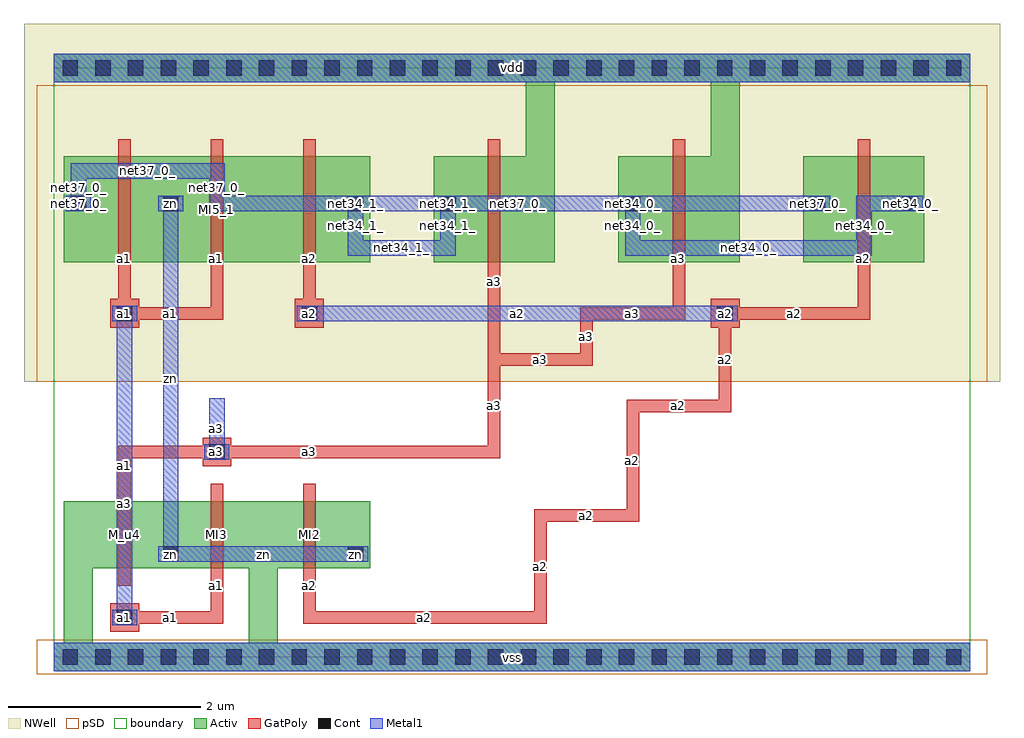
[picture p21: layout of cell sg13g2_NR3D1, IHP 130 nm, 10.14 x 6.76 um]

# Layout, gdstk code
import gdstk
lib = gdstk.Library(unit=1e-6, precision=1e-09)
def R(c, l, rs):  # rectangles x0, y0, x1, y1
    for r in rs: c.add(gdstk.rectangle(r[:2], r[2:], *l))
def A(c, l, x, y, w, h, nx, ny, dx, dy):  # array of equal rectangles
    R(c, l, [(x+i*dx, y+j*dy, x+i*dx+w, y+j*dy+h) for i in range(nx) for j in range(ny)])
Activ = (1, 0)
GatPoly = (5, 0)
Cont = (6, 0)
Metal1 = (8, 0)
pSD = (14, 0)
NWell = (31, 0)
TEXT = (63, 0)
boundary = (189, 4)

sg13g2_nr3d1 = lib.new_cell('sg13g2_NR3D1')
A(sg13g2_nr3d1, Activ, 0.105, 0.92, 1.26, 0.7, 3, 1, 0.96, 0)
A(sg13g2_nr3d1, Activ, 0.105, 4.1, 1.26, 1.1, 3, 1, 0.96, 0)
A(sg13g2_nr3d1, Activ, 3.945, 4.1, 1.26, 1.1, 3, 1, 1.92, 0)
A(sg13g2_nr3d1, Activ, 3.945, 4.56, 0.3, 0.3, 3, 1, 1.92, 0)
R(sg13g2_nr3d1, Activ, [(0,-0.15,9.52,0.15), (0.105,0.15,0.405,1.07), (2.025,0.15,2.325,1.07), (1.065,0.92,1.365,1.22), (2.985,0.92,3.285,1.22), (0.105,4.56,0.405,4.86), (1.065,4.56,1.365,4.86), (2.985,4.56,3.285,4.86), (8.745,4.56,9.045,4.86), (4.905,4.71,5.205,5.97), (6.825,4.71,7.125,5.97), (0,5.97,9.52,6.27)])
A(sg13g2_nr3d1, GatPoly, 0.67, 0.74, 0.13, 1.06, 3, 1, 0.96, 0)
A(sg13g2_nr3d1, GatPoly, 0.67, 3.505, 0.13, 1.27, 3, 1, 0.96, 0)
A(sg13g2_nr3d1, GatPoly, 0.67, 3.92, 0.13, 1.46, 3, 1, 0.96, 0)
A(sg13g2_nr3d1, GatPoly, 4.51, 3.92, 0.13, 1.46, 3, 1, 1.92, 0)
R(sg13g2_nr3d1, GatPoly, [(0.585,0.26,0.885,0.56), (0.67,0.345,1.76,0.475), (1.63,0.345,1.76,1.135), (2.59,0.345,2.72,1.135), (2.59,0.345,5.12,0.475), (4.99,0.345,5.12,1.535), (0.67,1.005,0.8,2.195), (4.99,1.405,6.08,1.535), (5.95,1.405,6.08,2.675), (1.545,1.98,1.845,2.28), (0.67,2.065,4.64,2.195), (4.51,2.065,4.64,3.155), (5.95,2.545,7.04,2.675), (6.91,2.545,7.04,3.635), (4.51,3.025,5.6,3.155), (4.51,3.025,4.64,4.775), (5.47,3.025,5.6,3.635), (0.585,3.42,0.885,3.72), (2.505,3.42,2.805,3.72), (6.825,3.42,7.125,3.72), (0.67,3.505,1.76,3.635), (5.47,3.505,6.56,3.635), (6.43,3.505,6.56,4.775), (6.91,3.505,8.48,3.635), (8.35,3.505,8.48,4.775)])
A(sg13g2_nr3d1, Cont, 0.09, -0.08, 0.16, 0.16, 28, 2, 0.34, 6.12)
A(sg13g2_nr3d1, Cont, 4.015, 4.63, 0.16, 0.16, 3, 1, 1.92, 0)
R(sg13g2_nr3d1, Cont, [(0.655,0.33,0.815,0.49), (1.135,0.99,1.295,1.15), (3.055,0.99,3.215,1.15), (1.615,2.05,1.775,2.21), (0.655,3.49,0.815,3.65), (2.575,3.49,2.735,3.65), (6.895,3.49,7.055,3.65), (0.175,4.63,0.335,4.79), (1.135,4.63,1.295,4.79), (3.055,4.63,3.215,4.79), (8.815,4.63,8.975,4.79)])
A(sg13g2_nr3d1, Metal1, 3.965, 4.63, 0.26, 0.16, 3, 1, 1.92, 0)
R(sg13g2_nr3d1, Metal1, [(0,-0.15,9.52,0.15), (0.605,0.33,0.865,0.49), (0.655,0.33,0.815,3.65), (1.085,0.99,1.345,1.15), (1.135,0.99,3.215,1.15), (1.135,0.99,1.295,4.79), (3.005,0.99,3.265,1.15), (1.565,2.05,1.825,2.21), (1.615,2.05,1.775,2.69), (0.605,3.49,0.865,3.65), (2.525,3.49,2.785,3.65), (2.575,3.49,7.055,3.65), (6.845,3.49,7.105,3.65), (3.055,4.17,3.215,4.79), (3.055,4.17,4.175,4.33), (4.015,4.17,4.175,4.79), (5.935,4.17,6.095,4.79), (5.935,4.17,8.495,4.33), (8.335,4.17,8.495,4.79), (0.125,4.63,0.385,4.79), (0.175,4.63,0.335,5.13), (1.085,4.63,1.345,4.79), (1.615,4.63,8.015,4.79), (1.615,4.63,1.775,5.13), (3.005,4.63,3.265,4.79), (8.335,4.63,8.975,4.79), (8.765,4.63,9.025,4.79), (0.175,4.97,1.775,5.13), (0,5.97,9.52,6.27)])
R(sg13g2_nr3d1, pSD, [(-0.18,-0.18,9.7,0.18), (-0.18,2.86,9.7,5.94)])
R(sg13g2_nr3d1, NWell, [(-0.31,2.86,9.83,6.58)])
R(sg13g2_nr3d1, boundary, [(0,0,9.52,6.12)])
sg13g2_nr3d1.add(gdstk.FlexPath([(0.105,0.41),(9.045,0.41)], 0, ends="flush", simple_path=True, layer=63, datatype=0))  # TEXT
sg13g2_nr3d1.add(gdstk.FlexPath([(0.105,1.07),(9.045,1.07)], 0, ends="flush", simple_path=True, layer=63, datatype=0))  # TEXT
sg13g2_nr3d1.add(gdstk.FlexPath([(0.105,1.47),(9.045,1.47)], 0, ends="flush", simple_path=True, layer=63, datatype=0))  # TEXT
sg13g2_nr3d1.add(gdstk.FlexPath([(0.105,2.13),(9.045,2.13)], 0, ends="flush", simple_path=True, layer=63, datatype=0))  # TEXT
sg13g2_nr3d1.add(gdstk.FlexPath([(0.105,2.61),(9.045,2.61)], 0, ends="flush", simple_path=True, layer=63, datatype=0))  # TEXT
sg13g2_nr3d1.add(gdstk.FlexPath([(0.105,3.09),(9.045,3.09)], 0, ends="flush", simple_path=True, layer=63, datatype=0))  # TEXT
sg13g2_nr3d1.add(gdstk.FlexPath([(0.105,3.57),(9.045,3.57)], 0, ends="flush", simple_path=True, layer=63, datatype=0))  # TEXT
sg13g2_nr3d1.add(gdstk.FlexPath([(0.105,4.25),(9.045,4.25)], 0, ends="flush", simple_path=True, layer=63, datatype=0))  # TEXT
sg13g2_nr3d1.add(gdstk.FlexPath([(0.105,4.71),(9.045,4.71)], 0, ends="flush", simple_path=True, layer=63, datatype=0))  # TEXT
sg13g2_nr3d1.add(gdstk.FlexPath([(0.105,5.05),(9.045,5.05)], 0, ends="flush", simple_path=True, layer=63, datatype=0))  # TEXT
sg13g2_nr3d1.add(gdstk.FlexPath([(0.105,5.71),(9.045,5.71)], 0, ends="flush", simple_path=True, layer=63, datatype=0))  # TEXT
sg13g2_nr3d1.add(gdstk.FlexPath([(0.255,0.15),(0.255,5.97)], 0, ends="flush", simple_path=True, layer=63, datatype=0))  # TEXT
sg13g2_nr3d1.add(gdstk.FlexPath([(0.735,0.15),(0.735,5.97)], 0, ends="flush", simple_path=True, layer=63, datatype=0))  # TEXT
sg13g2_nr3d1.add(gdstk.FlexPath([(1.215,0.15),(1.215,5.97)], 0, ends="flush", simple_path=True, layer=63, datatype=0))  # TEXT
sg13g2_nr3d1.add(gdstk.FlexPath([(1.695,0.15),(1.695,5.97)], 0, ends="flush", simple_path=True, layer=63, datatype=0))  # TEXT
sg13g2_nr3d1.add(gdstk.FlexPath([(2.175,0.15),(2.175,5.97)], 0, ends="flush", simple_path=True, layer=63, datatype=0))  # TEXT
sg13g2_nr3d1.add(gdstk.FlexPath([(2.655,0.15),(2.655,5.97)], 0, ends="flush", simple_path=True, layer=63, datatype=0))  # TEXT
sg13g2_nr3d1.add(gdstk.FlexPath([(3.135,0.15),(3.135,5.97)], 0, ends="flush", simple_path=True, layer=63, datatype=0))  # TEXT
sg13g2_nr3d1.add(gdstk.FlexPath([(3.615,0.15),(3.615,5.97)], 0, ends="flush", simple_path=True, layer=63, datatype=0))  # TEXT
sg13g2_nr3d1.add(gdstk.FlexPath([(4.095,0.15),(4.095,5.97)], 0, ends="flush", simple_path=True, layer=63, datatype=0))  # TEXT
sg13g2_nr3d1.add(gdstk.FlexPath([(4.575,0.15),(4.575,5.97)], 0, ends="flush", simple_path=True, layer=63, datatype=0))  # TEXT
sg13g2_nr3d1.add(gdstk.FlexPath([(5.055,0.15),(5.055,5.97)], 0, ends="flush", simple_path=True, layer=63, datatype=0))  # TEXT
sg13g2_nr3d1.add(gdstk.FlexPath([(5.535,0.15),(5.535,5.97)], 0, ends="flush", simple_path=True, layer=63, datatype=0))  # TEXT
sg13g2_nr3d1.add(gdstk.FlexPath([(6.015,0.15),(6.015,5.97)], 0, ends="flush", simple_path=True, layer=63, datatype=0))  # TEXT
sg13g2_nr3d1.add(gdstk.FlexPath([(6.495,0.15),(6.495,5.97)], 0, ends="flush", simple_path=True, layer=63, datatype=0))  # TEXT
sg13g2_nr3d1.add(gdstk.FlexPath([(6.975,0.15),(6.975,5.97)], 0, ends="flush", simple_path=True, layer=63, datatype=0))  # TEXT
sg13g2_nr3d1.add(gdstk.FlexPath([(7.455,0.15),(7.455,5.97)], 0, ends="flush", simple_path=True, layer=63, datatype=0))  # TEXT
sg13g2_nr3d1.add(gdstk.FlexPath([(7.935,0.15),(7.935,5.97)], 0, ends="flush", simple_path=True, layer=63, datatype=0))  # TEXT
sg13g2_nr3d1.add(gdstk.FlexPath([(8.415,0.15),(8.415,5.97)], 0, ends="flush", simple_path=True, layer=63, datatype=0))  # TEXT
sg13g2_nr3d1.add(gdstk.FlexPath([(8.895,0.15),(8.895,5.97)], 0, ends="flush", simple_path=True, layer=63, datatype=0))  # TEXT
sg13g2_nr3d1.add(gdstk.Label('zn', (1.215,1.07), layer=6, texttype=0))
sg13g2_nr3d1.add(gdstk.Label('zn', (3.135,1.07), layer=6, texttype=0))
sg13g2_nr3d1.add(gdstk.Label('zn', (1.215,4.71), layer=6, texttype=0))
sg13g2_nr3d1.add(gdstk.Label('a3', (1.695,2.13), layer=6, texttype=0))
sg13g2_nr3d1.add(gdstk.Label('a2', (6.975,3.57), layer=6, texttype=0))
sg13g2_nr3d1.add(gdstk.Label('a2', (2.655,3.57), layer=6, texttype=0))
sg13g2_nr3d1.add(gdstk.Label('a1', (0.735,0.41), layer=6, texttype=0))
sg13g2_nr3d1.add(gdstk.Label('a1', (0.735,3.57), layer=6, texttype=0))
sg13g2_nr3d1.add(gdstk.Label('net37_0_', (7.935,4.71), layer=6, texttype=0))
sg13g2_nr3d1.add(gdstk.Label('net37_0_', (0.255,4.71), layer=6, texttype=0))
sg13g2_nr3d1.add(gdstk.Label('net34_0_', (8.895,4.71), layer=6, texttype=0))
sg13g2_nr3d1.add(gdstk.Label('net34_0_', (6.015,4.71), layer=6, texttype=0))
sg13g2_nr3d1.add(gdstk.Label('net34_1_', (4.095,4.71), layer=6, texttype=0))
sg13g2_nr3d1.add(gdstk.Label('net34_1_', (3.135,4.71), layer=6, texttype=0))
sg13g2_nr3d1.add(gdstk.Label('net37_0_', (7.935,4.71), layer=8, texttype=0))
sg13g2_nr3d1.add(gdstk.Label('net37_0_', (0.255,4.71), layer=8, texttype=0))
sg13g2_nr3d1.add(gdstk.Label('net37_0_', (4.815,4.71), layer=8, texttype=0))
sg13g2_nr3d1.add(gdstk.Label('net37_0_', (1.695,4.88), layer=8, texttype=0))
sg13g2_nr3d1.add(gdstk.Label('net37_0_', (0.975,5.05), layer=8, texttype=0))
sg13g2_nr3d1.add(gdstk.Label('net37_0_', (0.255,4.88), layer=8, texttype=0))
sg13g2_nr3d1.add(gdstk.Label('net34_0_', (8.895,4.71), layer=8, texttype=0))
sg13g2_nr3d1.add(gdstk.Label('net34_0_', (6.015,4.71), layer=8, texttype=0))
sg13g2_nr3d1.add(gdstk.Label('net34_0_', (8.655,4.71), layer=8, texttype=0))
sg13g2_nr3d1.add(gdstk.Label('net34_0_', (8.415,4.48), layer=8, texttype=0))
sg13g2_nr3d1.add(gdstk.Label('net34_0_', (7.215,4.25), layer=8, texttype=0))
sg13g2_nr3d1.add(gdstk.Label('net34_0_', (6.015,4.48), layer=8, texttype=0))
sg13g2_nr3d1.add(gdstk.Label('net34_1_', (4.095,4.71), layer=8, texttype=0))
sg13g2_nr3d1.add(gdstk.Label('net34_1_', (3.135,4.71), layer=8, texttype=0))
sg13g2_nr3d1.add(gdstk.Label('net34_1_', (4.095,4.48), layer=8, texttype=0))
sg13g2_nr3d1.add(gdstk.Label('net34_1_', (3.615,4.25), layer=8, texttype=0))
sg13g2_nr3d1.add(gdstk.Label('net34_1_', (3.135,4.48), layer=8, texttype=0))
sg13g2_nr3d1.add(gdstk.Label('zn', (1.215,1.07), layer=8, texttype=25))
sg13g2_nr3d1.add(gdstk.Label('zn', (3.135,1.07), layer=8, texttype=25))
sg13g2_nr3d1.add(gdstk.Label('zn', (1.215,4.71), layer=8, texttype=25))
sg13g2_nr3d1.add(gdstk.Label('zn', (2.175,1.07), layer=8, texttype=25))
sg13g2_nr3d1.add(gdstk.Label('zn', (1.215,2.89), layer=8, texttype=25))
sg13g2_nr3d1.add(gdstk.Label('a3', (1.695,2.13), layer=8, texttype=25))
sg13g2_nr3d1.add(gdstk.Label('a3', (1.695,2.37), layer=8, texttype=25))
sg13g2_nr3d1.add(gdstk.Label('a2', (6.975,3.57), layer=8, texttype=25))
sg13g2_nr3d1.add(gdstk.Label('a2', (4.815,3.57), layer=8, texttype=25))
sg13g2_nr3d1.add(gdstk.Label('a2', (2.655,3.57), layer=8, texttype=25))
sg13g2_nr3d1.add(gdstk.Label('a1', (0.735,0.41), layer=8, texttype=25))
sg13g2_nr3d1.add(gdstk.Label('a1', (0.735,1.99), layer=8, texttype=25))
sg13g2_nr3d1.add(gdstk.Label('a1', (0.735,3.57), layer=8, texttype=25))
sg13g2_nr3d1.add(gdstk.Label('vss', (4.76,0), layer=8, texttype=25))
sg13g2_nr3d1.add(gdstk.Label('vdd', (4.76,6.12), layer=8, texttype=25))
sg13g2_nr3d1.add(gdstk.Label('M_u4', (0.735,1.27), layer=1, texttype=0))
sg13g2_nr3d1.add(gdstk.Label('MI2', (2.655,1.27), layer=1, texttype=0))
sg13g2_nr3d1.add(gdstk.Label('MI3', (1.695,1.27), layer=1, texttype=0))
sg13g2_nr3d1.add(gdstk.Label('MI4_0', (8.415,4.65), layer=1, texttype=0))
sg13g2_nr3d1.add(gdstk.Label('M_u1_0', (6.495,4.65), layer=1, texttype=0))
sg13g2_nr3d1.add(gdstk.Label('M_u1_1', (4.575,4.65), layer=1, texttype=0))
sg13g2_nr3d1.add(gdstk.Label('MI4_1', (2.655,4.65), layer=1, texttype=0))
sg13g2_nr3d1.add(gdstk.Label('MI5_0', (0.735,4.65), layer=1, texttype=0))
sg13g2_nr3d1.add(gdstk.Label('MI5_1', (1.695,4.65), layer=1, texttype=0))
sg13g2_nr3d1.add(gdstk.Label('zn', (1.215,1.07), layer=1, texttype=0))
sg13g2_nr3d1.add(gdstk.Label('zn', (3.135,1.07), layer=1, texttype=0))
sg13g2_nr3d1.add(gdstk.Label('zn', (1.215,4.71), layer=1, texttype=0))
sg13g2_nr3d1.add(gdstk.Label('net37_0_', (7.935,4.71), layer=1, texttype=0))
sg13g2_nr3d1.add(gdstk.Label('net37_0_', (0.255,4.71), layer=1, texttype=0))
sg13g2_nr3d1.add(gdstk.Label('net34_0_', (8.895,4.71), layer=1, texttype=0))
sg13g2_nr3d1.add(gdstk.Label('net34_0_', (6.015,4.71), layer=1, texttype=0))
sg13g2_nr3d1.add(gdstk.Label('net34_1_', (4.095,4.71), layer=1, texttype=0))
sg13g2_nr3d1.add(gdstk.Label('net34_1_', (3.135,4.71), layer=1, texttype=0))
sg13g2_nr3d1.add(gdstk.Label('a3', (0.735,1.6), layer=5, texttype=0))
sg13g2_nr3d1.add(gdstk.Label('a3', (2.655,2.13), layer=5, texttype=0))
sg13g2_nr3d1.add(gdstk.Label('a3', (4.575,2.61), layer=5, texttype=0))
sg13g2_nr3d1.add(gdstk.Label('a3', (5.055,3.09), layer=5, texttype=0))
sg13g2_nr3d1.add(gdstk.Label('a3', (5.535,3.33), layer=5, texttype=0))
sg13g2_nr3d1.add(gdstk.Label('a3', (6.015,3.57), layer=5, texttype=0))
sg13g2_nr3d1.add(gdstk.Label('a3', (6.495,4.14), layer=5, texttype=0))
sg13g2_nr3d1.add(gdstk.Label('a3', (4.575,3.9), layer=5, texttype=0))
sg13g2_nr3d1.add(gdstk.Label('a3', (1.695,2.13), layer=5, texttype=0))
sg13g2_nr3d1.add(gdstk.Label('a2', (2.655,0.74), layer=5, texttype=0))
sg13g2_nr3d1.add(gdstk.Label('a2', (3.855,0.41), layer=5, texttype=0))
sg13g2_nr3d1.add(gdstk.Label('a2', (5.055,0.94), layer=5, texttype=0))
sg13g2_nr3d1.add(gdstk.Label('a2', (5.535,1.47), layer=5, texttype=0))
sg13g2_nr3d1.add(gdstk.Label('a2', (6.015,2.04), layer=5, texttype=0))
sg13g2_nr3d1.add(gdstk.Label('a2', (6.495,2.61), layer=5, texttype=0))
sg13g2_nr3d1.add(gdstk.Label('a2', (6.975,3.09), layer=5, texttype=0))
sg13g2_nr3d1.add(gdstk.Label('a2', (7.695,3.57), layer=5, texttype=0))
sg13g2_nr3d1.add(gdstk.Label('a2', (8.415,4.14), layer=5, texttype=0))
sg13g2_nr3d1.add(gdstk.Label('a2', (6.975,3.57), layer=5, texttype=0))
sg13g2_nr3d1.add(gdstk.Label('a2', (2.655,3.57), layer=5, texttype=0))
sg13g2_nr3d1.add(gdstk.Label('a2', (2.655,4.14), layer=5, texttype=0))
sg13g2_nr3d1.add(gdstk.Label('a1', (1.695,0.74), layer=5, texttype=0))
sg13g2_nr3d1.add(gdstk.Label('a1', (1.215,0.41), layer=5, texttype=0))
sg13g2_nr3d1.add(gdstk.Label('a1', (0.735,0.41), layer=5, texttype=0))
sg13g2_nr3d1.add(gdstk.Label('a1', (0.735,3.57), layer=5, texttype=0))
sg13g2_nr3d1.add(gdstk.Label('a1', (0.735,4.14), layer=5, texttype=0))
sg13g2_nr3d1.add(gdstk.Label('a1', (1.215,3.57), layer=5, texttype=0))
sg13g2_nr3d1.add(gdstk.Label('a1', (1.695,4.14), layer=5, texttype=0))

lib.write_gds('sg13g2_NR3D1.gds')
